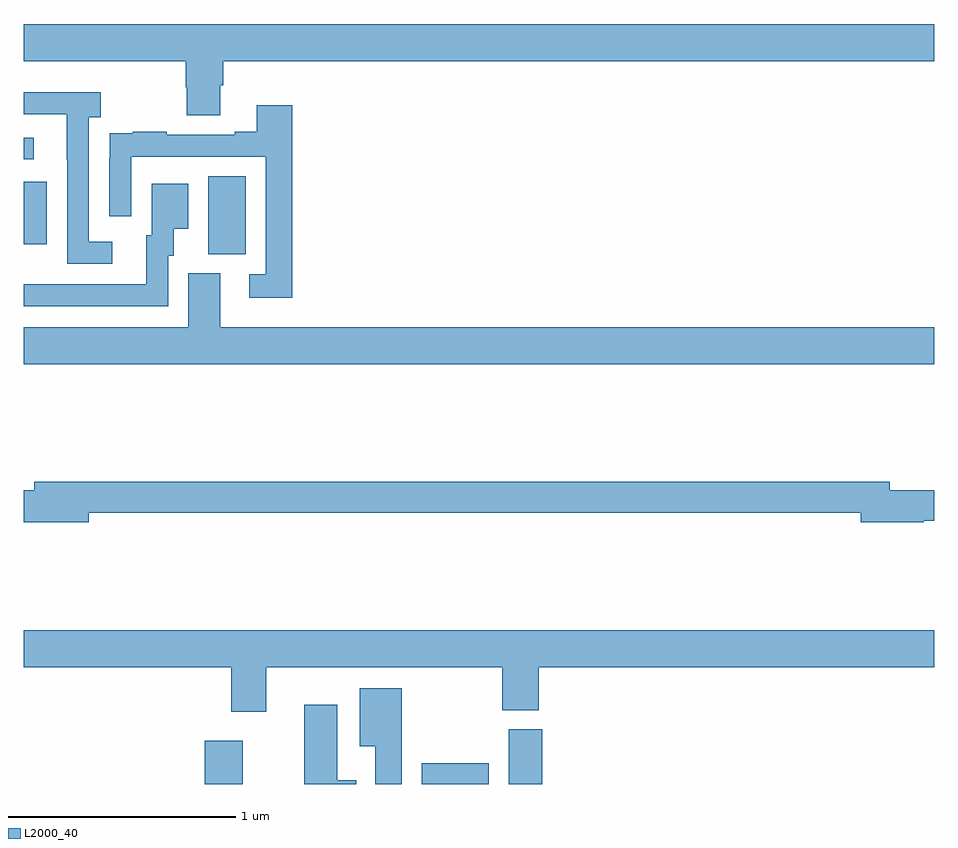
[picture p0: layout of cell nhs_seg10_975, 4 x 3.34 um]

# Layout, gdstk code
import gdstk
lib = gdstk.Library(unit=1e-6, precision=1e-09)
def R(c, l, rs):  # rectangles x0, y0, x1, y1
    for r in rs: c.add(gdstk.rectangle(r[:2], r[2:], *l))
def P(c, l, *ps):  # polygons
    for p in ps: c.add(gdstk.Polygon(p, *l))
L2000_40 = (2000, 40)

nhs_seg10_975 = lib.new_cell('nhs_seg10_975')
R(nhs_seg10_975, L2000_40, [(161.795,1270.5,161.962,1270.69), (162.749,1270.5,163.042,1270.591), (163.13,1270.5,163.277,1270.74), (161.81,1272.829,161.974,1273.172), (161,1272.873,161.101,1273.147), (161,1273.245,161.044,1273.341)])
P(nhs_seg10_975, L2000_40, [(161,1273.676),(161.711,1273.676),(161.711,1273.563),(161.716,1273.563),(161.716,1273.438),(161.863,1273.438),(161.863,1273.57),(161.876,1273.57),(161.876,1273.676),(165,1273.676),(165,1273.84),(161,1273.84)],
  [(161.389,1272.882),(161.286,1272.882),(161.286,1273.43),(161.338,1273.43),(161.338,1273.54),(161,1273.54),(161,1273.443),(161.189,1273.443),(161.189,1273.243),(161.19,1273.243),(161.19,1272.786),(161.389,1272.786)],
  [(162.179,1273.483),(162.023,1273.483),(162.023,1273.366),(161.927,1273.366),(161.927,1273.353),(161.627,1273.353),(161.627,1273.366),(161.479,1273.366),(161.479,1273.359),(161.377,1273.359),(161.377,1273.25),(161.376,1273.25),(161.376,1272.996),(161.472,1272.996),(161.472,1273.257),(162.063,1273.257),(162.063,1272.741),(161.991,1272.741),(161.991,1272.636),(162.179,1272.636)],
  [(161.634,1272.822),(161.659,1272.822),(161.659,1272.941),(161.722,1272.941),(161.722,1273.138),(161.561,1273.138),(161.561,1272.912),(161.537,1272.912),(161.537,1272.696),(161.053,1272.696),(161.053,1272.697),(161,1272.697),(161,1272.6),(161.634,1272.6)],
  [(165,1272.508),(161.863,1272.508),(161.863,1272.744),(161.723,1272.744),(161.723,1272.508),(161,1272.508),(161,1272.344),(165,1272.344)],
  [(161.284,1271.692),(164.678,1271.692),(164.678,1271.65),(164.954,1271.65),(164.954,1271.657),(165,1271.657),(165,1271.792),(164.806,1271.792),(164.806,1271.828),(161.045,1271.828),(161.045,1271.792),(161,1271.792),(161,1271.65),(161.284,1271.65)],
  [(162.064,1271.012),(163.102,1271.012),(163.102,1270.825),(163.262,1270.825),(163.262,1271.012),(165,1271.012),(165,1271.176),(161,1271.176),(161,1271.012),(161.912,1271.012),(161.912,1270.818),(162.064,1270.818)],
  [(162.661,1270.921),(162.476,1270.921),(162.476,1270.667),(162.545,1270.667),(162.545,1270.5),(162.661,1270.5)],
  [(162.46,1270.516),(162.376,1270.516),(162.376,1270.849),(162.233,1270.849),(162.233,1270.5),(162.46,1270.5)])

lib.write_gds('nhs_seg10_975.gds')
